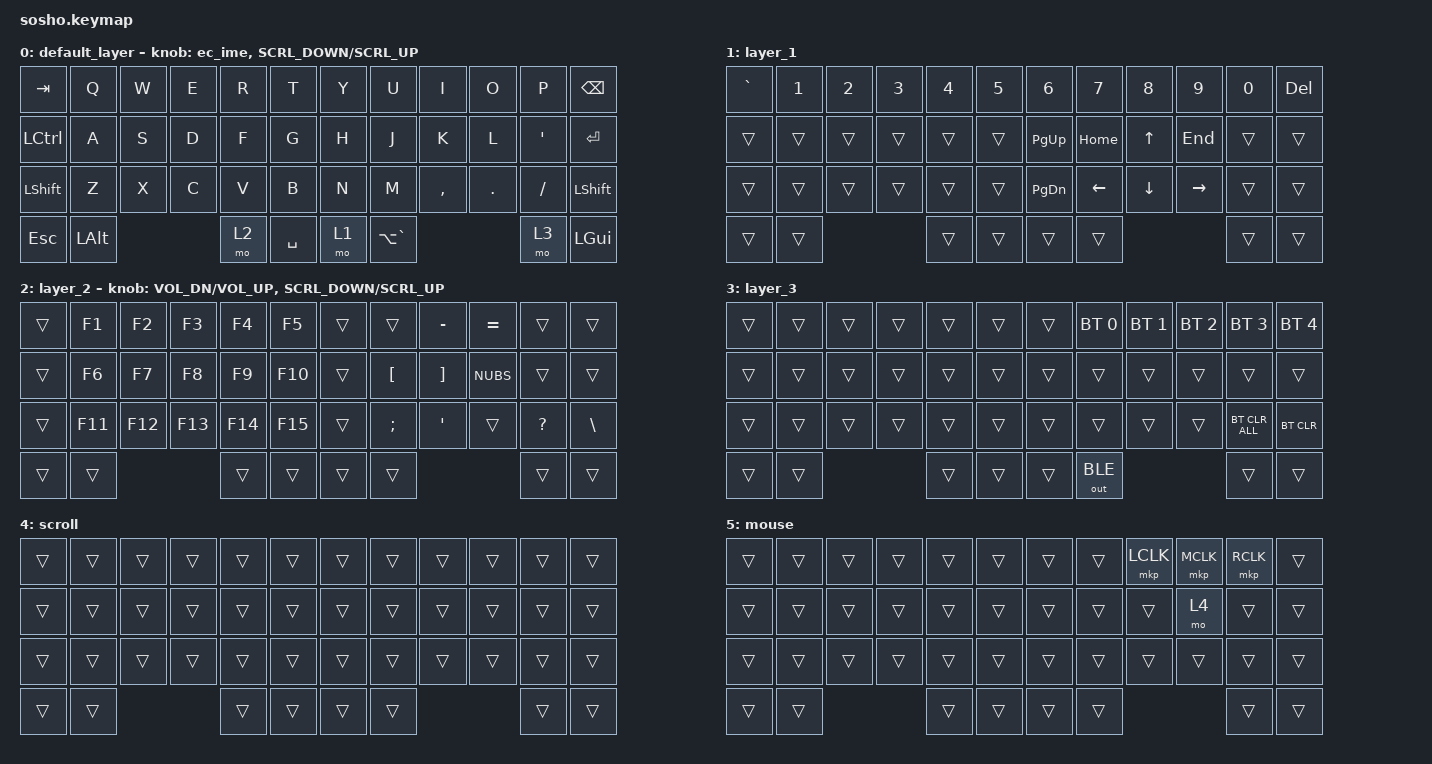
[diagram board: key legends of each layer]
//スクロール量の調整(デフォルト150)
#define ZMK_POINTING_DEFAULT_SCRL_VAL 150

#include <behaviors.dtsi>
#include <dt-bindings/zmk/bt.h>
#include <dt-bindings/zmk/keys.h>
#include <dt-bindings/zmk/pointing.h>
#include <dt-bindings/zmk/outputs.h>

/ {
	behaviors {
        ec_ms_l: ec_ms_h {
            compatible = "zmk,behavior-encoder-mouse-scroll";
            #sensor-binding-cells = <2>;
        };
        ec_ms_r: ec_ms_v {
            compatible = "zmk,behavior-encoder-mouse-scroll";
            #sensor-binding-cells = <2>;
        };

        //エンコーダで日本語/英語入力を切り替える
        //1つ目が左回し(かな=日本語)、2つ目が右回し(英数=英語)
        ec_ime: ec_ime {
            compatible = "zmk,behavior-sensor-rotate";
            #sensor-binding-cells = <0>;
            bindings = <&kp LANG1>, <&kp LANG2>;
            tap-ms = <20>;
        };
    };
};

//スクロールの調整
&msc {
    time-to-max-speed-ms = <0>;   // 即座に最大速度（加速なし）
    acceleration-exponent = <0>;   // 加速なし
};

/{
    combos {
        compatible = "zmk,combos";
		//左クリックのコンボ 19はJのキー 20はKのキーに相当します。
	    combo_LCLK {
            timeout-ms = <50>;
            key-positions = <19 20>;
            bindings = <&mkp LCLK>;
        };

		//右クリックのコンボ 20 K 21 L
        combo_RCLK {
            timeout-ms = <50>;
            key-positions = <20 21>;
            bindings = <&mkp RCLK>;
        };

		//ホイールクリックのコンボ 19 J 21 L
	    combo_MCLK {
            timeout-ms = <90>;
            key-positions = <19 21>;
            bindings = <&mkp MCLK>;
        };

    };
};

/{
keymap {
    compatible = "zmk,keymap";

    default_layer {
        bindings = <
            &kp TAB    &kp Q   &kp W  &kp E  &kp R  &kp T      &kp Y  &kp U  &kp I      &kp O    &kp P     &kp BSPC
            &kp LCTRL  &kp A   &kp S  &kp D  &kp F  &kp G      &kp H  &kp J  &kp K      &kp L    &kp SQT   &kp ENTER
            &kp LSHFT  &kp Z   &kp X  &kp C  &kp V  &kp B      &kp N  &kp M  &kp COMMA  &kp DOT  &kp SLASH &kp LSHFT
            &kp ESC    &kp LALT              &mo 2  &kp SPACE  &mo 1  &kp LA(GRAVE)              &mo 3     &kp LGUI
        >;
		//&ec_ms_rと&ec_imeは、上のビヘイビアで作ったもの。
		//左手のエンコーダは左に回すと日本語、右に回すと英語入力になります。
        sensor-bindings = <&ec_ime &ec_ms_r SCRL_DOWN SCRL_UP>;
    };
	
    layer_1 {
        bindings = <
            &kp GRAVE &kp N1  &kp N2  &kp N3  &kp N4  &kp N5       &kp N6    &kp N7   &kp N8   &kp N9    &kp N0 &kp DEL
            &trans    &trans &trans &trans &trans &trans           &kp PG_UP &kp HOME &kp UP   &kp END   &trans &trans
            &trans    &trans &trans &trans &trans &trans           &kp PG_DN &kp LEFT &kp DOWN &kp RIGHT &trans &trans
            &trans    &trans               &trans &trans           &trans    &trans                      &trans &trans
        >;
    };

    layer_2 {
        bindings = <
            &trans &kp F1  &kp F2  &kp F3  &kp F4  &kp F5     &trans  &trans    &kp MINUS &kp EQUAL &trans     &trans
            &trans &kp F6  &kp F7  &kp F8  &kp F9  &kp F10    &trans  &kp LBKT  &kp RBKT  &kp NUBS  &trans     &trans
            &trans &kp F11 &kp F12 &kp F13 &kp F14 &kp F15    &trans  &kp SEMI  &kp SQT   &trans    &kp QMARK  &kp BSLH
            &trans &trans                  &trans  &trans     &trans  &trans                        &trans     &trans
        >;
		//レイヤー2のときだけ、左手のエンコーダを回すとボリュームの上下ができるようになっています。
		sensor-bindings = <&inc_dec_kp C_VOL_DN C_VOL_UP &ec_ms_r SCRL_DOWN SCRL_UP>;

    };

    layer_3 {
        bindings = <
            &trans &trans &trans &trans &trans &trans      &trans  &bt BT_SEL 0  &bt BT_SEL 1  &bt BT_SEL 2  &bt BT_SEL 3   &bt BT_SEL 4
            &trans &trans &trans &trans &trans &trans      &trans  &trans        &trans        &trans        &trans         &trans
            &trans &trans &trans &trans &trans &trans      &trans  &trans        &trans        &trans        &bt BT_CLR_ALL &bt BT_CLR
            &trans &trans               &trans &trans      &trans  &out OUT_BLE                                    &trans         &trans
        >;
    };
    //レイヤー4: スクロールモード
    //マウスレイヤーでLを押している間、トラックボールがスクロールになります。
    //(スクロールへの変換はsosho_R_trackball.overlayで設定しています)
    scroll {
        bindings = <
            &trans &trans &trans &trans &trans &trans      &trans &trans &trans &trans &trans &trans
            &trans &trans &trans &trans &trans &trans      &trans &trans &trans &trans &trans &trans
            &trans &trans &trans &trans &trans &trans      &trans &trans &trans &trans &trans &trans
            &trans &trans               &trans &trans      &trans &trans               &trans &trans
        >;
    };

    //レイヤー5: マウスレイヤー
    //右手のトラックボールを動かすと自動で有効になり、
    //しばらく操作しないか、I O P L 以外のキーを押すと元に戻ります。
    //I:左クリック O:中クリック P:右クリック L:押している間スクロールモード
    mouse {
        bindings = <
            &trans &trans &trans &trans &trans &trans      &trans &trans &mkp LCLK &mkp MCLK &mkp RCLK &trans
            &trans &trans &trans &trans &trans &trans      &trans &trans &trans    &mo 4     &trans    &trans
            &trans &trans &trans &trans &trans &trans      &trans &trans &trans    &trans    &trans    &trans
            &trans &trans               &trans &trans      &trans &trans                     &trans    &trans
        >;
    };
};
};
